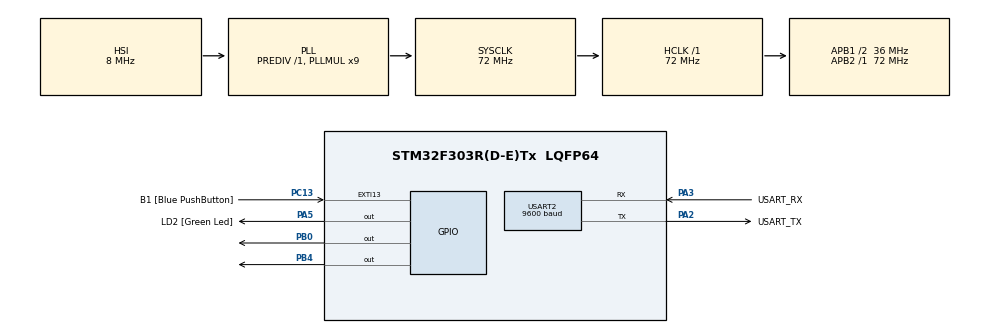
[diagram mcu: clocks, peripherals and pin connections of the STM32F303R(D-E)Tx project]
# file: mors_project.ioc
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Mcu.Family=STM32F3
Mcu.Name=STM32F303R(D-E)Tx
Mcu.Package=LQFP64
NVIC.PriorityGroup=NVIC_PRIORITYGROUP_0
PA13.GPIO_Label=TMS
PA13.Mode=Serial_Wire
PA13.Signal=SYS_JTMS-SWDIO
PA14.GPIO_Label=TCK
PA14.Mode=Serial_Wire
PA14.Signal=SYS_JTCK-SWCLK
PA2.GPIO_Label=USART_TX
PA2.GPIO_Mode=GPIO_MODE_AF_PP
PA2.GPIO_PuPd=GPIO_NOPULL
PA2.GPIO_Speed=GPIO_SPEED_FREQ_LOW
PA2.Mode=Asynchronous
PA2.Signal=USART2_TX
PA3.GPIO_Label=USART_RX
PA3.GPIO_Mode=GPIO_MODE_AF_PP
PA3.GPIO_PuPd=GPIO_NOPULL
PA3.GPIO_Speed=GPIO_SPEED_FREQ_LOW
PA3.Mode=Asynchronous
PA3.Signal=USART2_RX
PA5.GPIO_Label=LD2 [Green Led]
PA5.GPIO_Mode=GPIO_MODE_OUTPUT_PP
PA5.GPIO_PuPd=GPIO_NOPULL
PA5.GPIO_Speed=GPIO_SPEED_FREQ_LOW
PA5.Signal=GPIO_Output
PB0.Signal=GPIO_Output
PB3.GPIO_Label=SWO
PB3.Signal=SYS_JTDO-TRACESWO
PB4.Signal=GPIO_Output
PC13.GPIO_Label=B1 [Blue PushButton]
PC13.GPIO_ModeDefaultEXTI=GPIO_MODE_IT_FALLING
PC13.Signal=GPXTI13
PC14-OSC32_IN.Mode=LSE-External-Oscillator
PC14-OSC32_IN.Signal=RCC_OSC32_IN
PC15-OSC32_OUT.Mode=LSE-External-Oscillator
PC15-OSC32_OUT.Signal=RCC_OSC32_OUT
PF0-OSC_IN.Mode=HSE-External-Clock-Source
PF0-OSC_IN.Signal=RCC_OSC_IN
PF1-OSC_OUT.Signal=RCC_OSC_OUT
ProjectManager.HeapSize=0x200
ProjectManager.StackSize=0x400
ProjectManager.TargetToolchain=STM32CubeIDE
RCC.AHBFreq_Value=72000000
RCC.APB1CLKDivider=RCC_HCLK_DIV2
RCC.APB1Freq_Value=36000000
RCC.APB1TimFreq_Value=72000000
RCC.APB2Freq_Value=72000000
RCC.APB2TimFreq_Value=72000000
RCC.CortexFreq_Value=72000000
RCC.HCLKFreq_Value=72000000
RCC.HSE_VALUE=8000000
RCC.HSI_VALUE=8000000
RCC.PLLM=8
RCC.PLLMUL=RCC_PLL_MUL9
RCC.PLLN=336
RCC.PLLP=RCC_PLLP_DIV4
RCC.PLLQ=7
RCC.RCC_PLLsource_Clock_Source_FROM_HSE=RCC_HSE_PREDIV_DIV2
RCC.SYSCLKFreq_VALUE=72000000
RCC.SYSCLKSourceVirtual=RCC_SYSCLKSOURCE_PLLCLK
RCC.USBFreq_Value=72000000
USART2.BaudRate=9600
USART2.VirtualMode-Asynchronous=VM_ASYNC
board=NUCLEO-F303RE

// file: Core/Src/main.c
/* USER CODE BEGIN Header */
/**
  ******************************************************************************
  * @file           : main.c
  * @brief          : Main program body (Morse Code Decoder)
  ******************************************************************************
  */
/* USER CODE END Header */
#include "main.h"
#include <string.h>
#include <stdio.h>

/* USER CODE BEGIN PTD */
typedef struct {
  const char* code;
  char letter;
} MorseEntry;
/* USER CODE END PTD */

UART_HandleTypeDef huart2;

/* USER CODE BEGIN PV */
char mors_buffer[10] = "";
char kelime[100] = "";
uint32_t start_time = 0, duration = 0, last_press_time = 0;

const MorseEntry mors_table[] = {
  {".-", 'A'},   {"-...", 'B'}, {"-.-.", 'C'}, {"-..", 'D'}, {".", 'E'},
  {"..-.", 'F'}, {"--.", 'G'},  {"....", 'H'}, {"..", 'I'},  {".---", 'J'},
  {"-.-", 'K'},  {".-..", 'L'}, {"--", 'M'},   {"-.", 'N'},  {"---", 'O'},
  {".--.", 'P'}, {"--.-", 'Q'}, {".-.", 'R'},  {"...", 'S'}, {"-", 'T'},
  {"..-", 'U'},  {"...-", 'V'}, {".--", 'W'},  {"-..-", 'X'},{"-.--", 'Y'},
  {"--..", 'Z'}, {NULL, 0}
};

char mors_to_char(const char* mors_code) {
  for (int i = 0; mors_table[i].code != NULL; i++) {
    if (strcmp(mors_code, mors_table[i].code) == 0)
      return mors_table[i].letter;
  }
  return '?';
}
/* USER CODE END PV */

void SystemClock_Config(void);
static void MX_GPIO_Init(void);
static void MX_USART2_UART_Init(void);

int main(void)
{
  HAL_Init();
  SystemClock_Config();
  MX_GPIO_Init();
  MX_USART2_UART_Init();

  // LED ilk başta kapalı
  HAL_GPIO_WritePin(GPIOB, GPIO_PIN_0, GPIO_PIN_RESET);
  HAL_GPIO_WritePin(GPIOB, GPIO_PIN_4, GPIO_PIN_RESET);
  while (1) {
    // Butona basıldı mı?
    if (HAL_GPIO_ReadPin(GPIOC, GPIO_PIN_13) == GPIO_PIN_RESET) {
    	HAL_GPIO_WritePin(GPIOB, GPIO_PIN_4, GPIO_PIN_RESET);
      // Başlangıç zamanı
      start_time = HAL_GetTick();

      // LED'i YAK (PB0)
      HAL_GPIO_WritePin(GPIOB, GPIO_PIN_0, GPIO_PIN_SET);

      // Buton bırakılana kadar bekle
      while (HAL_GPIO_ReadPin(GPIOC, GPIO_PIN_13) == GPIO_PIN_RESET);

      // Süreyi hesapla
      duration = HAL_GetTick() - start_time;
      last_press_time = HAL_GetTick();

      // LED'i SÖNDÜR
      HAL_GPIO_WritePin(GPIOB, GPIO_PIN_0, GPIO_PIN_RESET);

      // Mors işareti oluştur
      if (duration < 300)
        strcat(mors_buffer, ".");
      else
        strcat(mors_buffer, "-");
    }

    // Harf kontrolü
    if ((HAL_GetTick() - last_press_time > 1000) && strlen(mors_buffer) > 0) {
      char harf = mors_to_char(mors_buffer);
      int len = strlen(kelime);
      kelime[len] = harf;
      kelime[len + 1] = '\0';
      memset(mors_buffer, 0, sizeof(mors_buffer));
    }

    // Kelime kontrolü
    if ((HAL_GetTick() - last_press_time > 3000) && strlen(kelime) > 0) {
      strcat(kelime, "\r\n");
      HAL_UART_Transmit(&huart2, (uint8_t*)kelime, strlen(kelime), HAL_MAX_DELAY);
      memset(kelime, 0, sizeof(kelime));
      HAL_GPIO_WritePin(GPIOB, GPIO_PIN_4, GPIO_PIN_SET);
    }
  }
}
void SystemClock_Config(void)
{
  RCC_OscInitTypeDef RCC_OscInitStruct = {0};
  RCC_ClkInitTypeDef RCC_ClkInitStruct = {0};
  RCC_PeriphCLKInitTypeDef PeriphClkInit = {0};

  /** Initializes the RCC Oscillators according to the specified parameters
  * in the RCC_OscInitTypeDef structure.
  */
  RCC_OscInitStruct.OscillatorType = RCC_OSCILLATORTYPE_HSI;
  RCC_OscInitStruct.HSIState = RCC_HSI_ON;
  RCC_OscInitStruct.HSICalibrationValue = RCC_HSICALIBRATION_DEFAULT;
  RCC_OscInitStruct.PLL.PLLState = RCC_PLL_ON;
  RCC_OscInitStruct.PLL.PLLSource = RCC_PLLSOURCE_HSI;
  RCC_OscInitStruct.PLL.PLLMUL = RCC_PLL_MUL9;
  RCC_OscInitStruct.PLL.PREDIV = RCC_PREDIV_DIV1;
  if (HAL_RCC_OscConfig(&RCC_OscInitStruct) != HAL_OK)
  {
    Error_Handler();
  }

  /** Initializes the CPU, AHB and APB buses clocks
  */
  RCC_ClkInitStruct.ClockType = RCC_CLOCKTYPE_HCLK|RCC_CLOCKTYPE_SYSCLK
                              |RCC_CLOCKTYPE_PCLK1|RCC_CLOCKTYPE_PCLK2;
  RCC_ClkInitStruct.SYSCLKSource = RCC_SYSCLKSOURCE_PLLCLK;
  RCC_ClkInitStruct.AHBCLKDivider = RCC_SYSCLK_DIV1;
  RCC_ClkInitStruct.APB1CLKDivider = RCC_HCLK_DIV2;
  RCC_ClkInitStruct.APB2CLKDivider = RCC_HCLK_DIV1;

  if (HAL_RCC_ClockConfig(&RCC_ClkInitStruct, FLASH_LATENCY_2) != HAL_OK)
  {
    Error_Handler();
  }
  PeriphClkInit.PeriphClockSelection = RCC_PERIPHCLK_USART2;
  PeriphClkInit.Usart2ClockSelection = RCC_USART2CLKSOURCE_PCLK1;
  if (HAL_RCCEx_PeriphCLKConfig(&PeriphClkInit) != HAL_OK)
  {
    Error_Handler();
  }
}

static void MX_USART2_UART_Init(void)
{

  huart2.Instance = USART2;
  huart2.Init.BaudRate = 9600;
  huart2.Init.WordLength = UART_WORDLENGTH_8B;
  huart2.Init.StopBits = UART_STOPBITS_1;
  huart2.Init.Parity = UART_PARITY_NONE;
  huart2.Init.Mode = UART_MODE_TX_RX;
  huart2.Init.HwFlowCtl = UART_HWCONTROL_NONE;
  huart2.Init.OverSampling = UART_OVERSAMPLING_16;
  huart2.Init.OneBitSampling = UART_ONE_BIT_SAMPLE_DISABLE;
  huart2.AdvancedInit.AdvFeatureInit = UART_ADVFEATURE_NO_INIT;
  if (HAL_UART_Init(&huart2) != HAL_OK)
  {
    Error_Handler();
  }

}

static void MX_GPIO_Init(void)
{
  GPIO_InitTypeDef GPIO_InitStruct = {0};

  /* GPIO Ports Clock Enable */
  __HAL_RCC_GPIOC_CLK_ENABLE();
  __HAL_RCC_GPIOF_CLK_ENABLE();
  __HAL_RCC_GPIOA_CLK_ENABLE();
  __HAL_RCC_GPIOB_CLK_ENABLE();

  /*Configure GPIO pin Output Level */
  HAL_GPIO_WritePin(LD2_GPIO_Port, LD2_Pin, GPIO_PIN_RESET);

  /*Configure GPIO pin Output Level */
  HAL_GPIO_WritePin(GPIOB, GPIO_PIN_0|GPIO_PIN_4, GPIO_PIN_RESET);

  /*Configure GPIO pin : B1_Pin */
  GPIO_InitStruct.Pin = B1_Pin;
  GPIO_InitStruct.Mode = GPIO_MODE_IT_FALLING;
  GPIO_InitStruct.Pull = GPIO_NOPULL;
  HAL_GPIO_Init(B1_GPIO_Port, &GPIO_InitStruct);

  /*Configure GPIO pin : LD2_Pin */
  GPIO_InitStruct.Pin = LD2_Pin;
  GPIO_InitStruct.Mode = GPIO_MODE_OUTPUT_PP;
  GPIO_InitStruct.Pull = GPIO_NOPULL;
  GPIO_InitStruct.Speed = GPIO_SPEED_FREQ_LOW;
  HAL_GPIO_Init(LD2_GPIO_Port, &GPIO_InitStruct);

  /*Configure GPIO pins : PB0 PB4 */
  GPIO_InitStruct.Pin = GPIO_PIN_0|GPIO_PIN_4;
  GPIO_InitStruct.Mode = GPIO_MODE_OUTPUT_PP;
  GPIO_InitStruct.Pull = GPIO_NOPULL;
  GPIO_InitStruct.Speed = GPIO_SPEED_FREQ_LOW;
  HAL_GPIO_Init(GPIOB, &GPIO_InitStruct);

}

void Error_Handler(void)
{
  __disable_irq();
  while (1)
  {
  }
}
